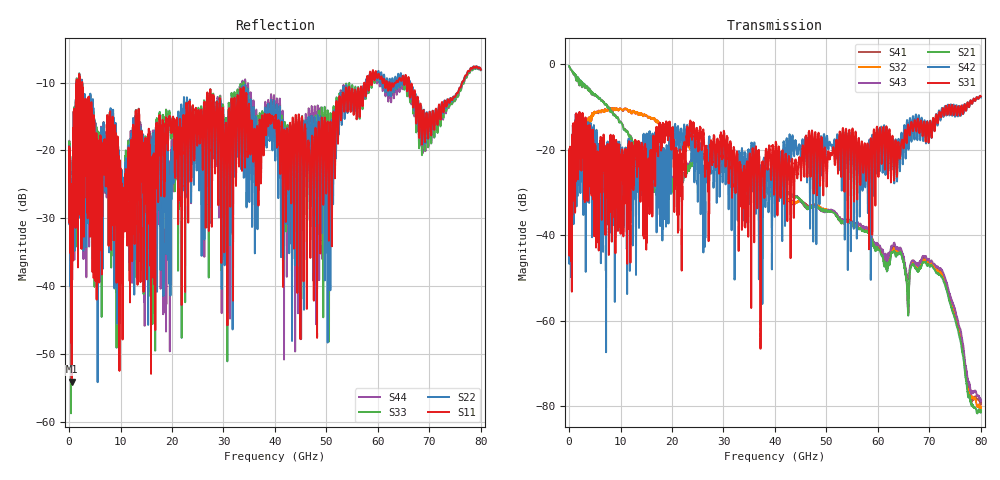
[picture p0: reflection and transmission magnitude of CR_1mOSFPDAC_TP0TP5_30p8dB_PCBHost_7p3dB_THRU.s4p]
!! Reference: shanbhag_3dj_01_2305.pdf
!! CHANNEL DESCRIPTION: TP0_TP5 CR Channel using 1meter DAC, PCB Host
!! MODEL DESCRIPTION: s4p, THRU
!! CONNECTOR DESCRIPTION: OSFP 200G SMT
!! CABLE DESCRIPTION: 1meter 26AWG Cable
!! MODEL STATUS: Developmental
!! PORT DEFINITIONS:
!! Port  1  ----->  Side A  Side B  <-----  Port  2
!! Port  3  ----->  Side A  Side B  <-----  Port  4
# HZ S MA R 50.000000
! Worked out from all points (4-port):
!   8000 points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, 10 MHz to 80 GHz, reference 50 ohm
!   strongest paths, dB at 10 MHz, 20.01 GHz, 40.01 GHz, 60.01 GHz, 80 GHz:
!     S31: -27.2, -15.1, -22.3, -20.7, -7.5
!     S42: -27.2, -15.2, -31.6, -15.6, -7.8
!     S21: -0.5, -27.7, -29.7, -43.4, -81.5
!     S43: -0.5, -27.2, -30.0, -42.4, -79.0
!     S32: -42.2, -15.9, -29.8, -42.6, -80.7
!     S41: -42.2, -15.9, -30.1, -43.1, -79.5
!   lowest |S11| = -54.1 dB at 520 MHz (marker M1), VSWR 1.00, Z = 49.9 - j0.188 ohm
!   |S11| at or under -10 dB: start of sweep to 1.473 GHz; 2.547 GHz to 57.79 GHz (55.24 GHz wide, 183 % of centre); 66.06 GHz to 76.33 GHz (10.26 GHz wide, 14.4 % of centre)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
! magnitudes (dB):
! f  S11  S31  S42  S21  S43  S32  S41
! 10 MHz  -24.6  -27.2  -27.2  -0.5  -0.5  -42.2  -42.2
! 520 MHz  -54.1  -31.0  -30.0  -1.5  -1.5  -30.5  -30.5
! 1.78 GHz  -14.4  -12.8  -12.2  -3.8  -3.9  -20.5  -20.6
! 4.83 GHz  -15.6  -22.8  -14.3  -7.2  -7.3  -11.6  -11.5
! 16.34 GHz  -26.5  -20.4  -21.0  -28.7  -28.6  -12.7  -12.7
! 69.07 GHz  -18.0  -14.0  -13.1  -46.4  -45.0  -45.9  -45.5
! 80 GHz  -8.1  -7.5  -7.8  -81.5  -79.0  -80.7  -79.5
